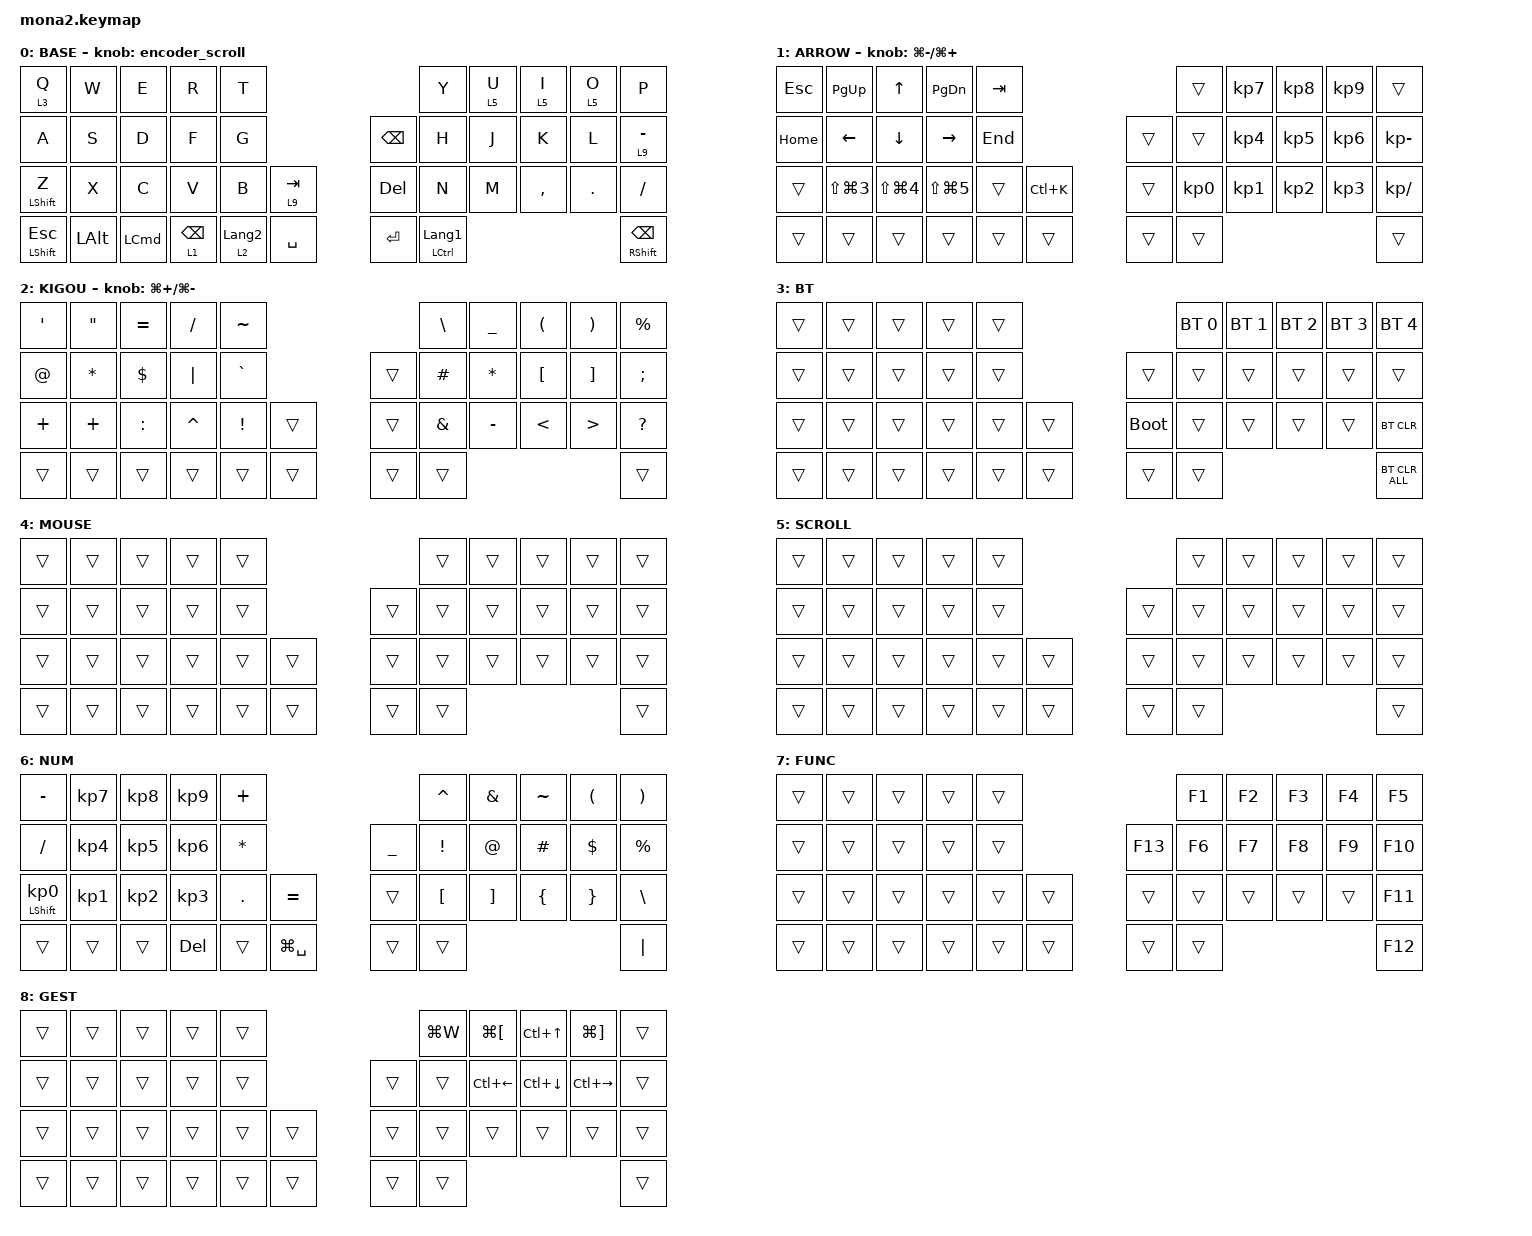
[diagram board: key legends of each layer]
/*
 * このファイルは自動生成です。直接編集しないでください。
 *
 * マスター : https://github.com/dgarai/zmk-config-moNa2-v2 の config/mona2.keymap
 * 生成     : マスター側の tools/sync-keymap.py（--variant paw3222）
 *
 * キーマップを変えたいときはマスターを編集してください。ここへの変更は
 * 次回の同期で上書きされます。同期の止め方・元に戻し方は KEYMAP-SYNC.md を参照。
 */

/*
 * SPDX-License-Identifier: MIT
 *
 * roBa (zmk-config-roBa) のキーマップを moNa2 へ移植したもの。
 *
 * 【レイアウト差分】
 *   roBa   : 43キー（2段目の左内側 RC(1,5) が存在する）
 *   moNa2  : 42キー（2段目の左内側キーが無い）
 *   → 各レイヤーの 2段目 6番目にあった roBa の RC(1,5) を1つ削除して移植。
 *      実際に何か割り当てられていたのは 2箇所だけ：
 *        default : &kp LS(LG(S))            （macOS スクリーンショット）
 *        NUM     : &kp LC(LA(KP_NUMBER_0))
 *      いずれも moNa2 には置き場所が無いため未割当。必要なら任意のキーへ。
 *
 * 【レイヤー番号】roBa と同一
 *   0 default / 1 ARROW / 2 KIGOU / 3 Bluetooth / 4 MOUSE / 5 SCROLL / 6 NUM / 7 FUNCTION
 *   → オートマウスレイヤー = 4、スクロールレイヤー = 5 として
 *     boards/shields/mona2/mona2_r.overlay 側も合わせて修正済み。
 */

#include <input/processors.dtsi>
#include <dt-bindings/zmk/input_transform.h>
#include <zephyr/dt-bindings/input/input-event-codes.h>

#define ZMK_POINTING_DEFAULT_SCRL_VAL 80

#include <behaviors.dtsi>
#include <dt-bindings/zmk/bt.h>
#include <dt-bindings/zmk/keys.h>
#include <dt-bindings/zmk/pointing.h>

&mt {
    flavor = "balanced";
    quick-tap-ms = <0>;
};

/ {
    combos {
        compatible = "zmk,combos";

        // roBa: <18 20> → moNa2: <17 19>（J + L）

        Center {
            bindings = <&mkp MB3>;
            key-positions = <17 19>;
            timeout-ms = <80>;              // 50→80。同時押しをゆるく
            require-prior-idle-ms = <50>;   // 125→50。取りこぼしで j/k が漏れるため緩める
        };

        // roBa: <18 19> → moNa2: <17 18>（J + K）

        left {
            bindings = <&mkp MB1>;
            key-positions = <17 18>;
            timeout-ms = <80>;              // 50→80。同時押しをゆるく
            require-prior-idle-ms = <50>;   // 125→50。取りこぼしで j/k が漏れるため緩める
        };

        // roBa: <19 20> → moNa2: <18 19>（K + L）

        right {
            bindings = <&mkp MB2>;
            key-positions = <18 19>;
            timeout-ms = <80>;              // 50→80。同時押しをゆるく
            require-prior-idle-ms = <50>;   // 125→50。取りこぼしで k/l が漏れるため緩める
        };

        // J + K + L 同時押しで押している間だけ SCROLL レイヤー(5)へ

        scroll_mode {
            bindings = <&mo 5>;
            key-positions = <17 18 19>;
            timeout-ms = <80>;              // 他のJ/K/Lコンボと合わせる
            require-prior-idle-ms = <50>;   // 他のJ/K/Lコンボと合わせる
        };

        // roBa: <0 1> → moNa2: <0 1>（Q + W）位置変化なし

        Escape {
            bindings = <&kp ESCAPE>;
            key-positions = <0 1>;
            timeout-ms = <80>;              // 50→80。同時押しをゆるく
            require-prior-idle-ms = <125>;  // 打鍵中は発火させない
        };

        tab {
            bindings = <&kp TAB>;
            key-positions = <4 3>;
        };
    };

    macros {
        to_layer_0: to_layer_0 {
            compatible = "zmk,behavior-macro-one-param";
            #binding-cells = <1>;
            bindings = <&to 0 &macro_param_1to1 &kp MACRO_PLACEHOLDER>;
            label = "TO_LAYER_0";
        };
    };

    behaviors {
        lt_to_layer_0: lt_to_layer_0 {
            compatible = "zmk,behavior-hold-tap";
            label = "LAYER_TAP_TO_0";
            bindings = <&mo>, <&to_layer_0>;

            #binding-cells = <2>;
            tapping-term-ms = <200>;
        };

        // エンコーダ用マウスホイールスクロール（上下）

        encoder_scroll: encoder_scroll {
            compatible = "zmk,behavior-sensor-rotate";
            #sensor-binding-cells = <0>;
            bindings = <&msc SCRL_DOWN>, <&msc SCRL_UP>;

            tap-ms = <20>;
        };

        // --- 以下は moNa2 標準の定義。現キーマップでは未使用だが温存 ---

        hm: hm {
            compatible = "zmk,behavior-hold-tap";
            label = "HM";
            bindings = <&kp>, <&kp>;

            #binding-cells = <2>;
            quick-tap-ms = <180>;
            flavor = "tap-preferred";
            hold-trigger-on-release;
            tapping-term-ms = <300>;
        };

        ltq: ltq {
            compatible = "zmk,behavior-hold-tap";
            label = "LTQ";
            bindings = <&mo>, <&kp>;

            #binding-cells = <2>;
            tapping-term-ms = <200>;
            quick-tap-ms = <180>;
        };
    };

    keymap {
        compatible = "zmk,keymap";

        default_layer {
            bindings = <
&lt 3 Q             &kp W         &kp E             &kp R            &kp T                                         &kp Y                        &lt 5 U  &lt 5 I    &lt 5 O     &kp P
&kp A               &kp S         &kp D             &kp F            &kp G                          &kp BACKSPACE  &kp H                        &kp J    &kp K      &kp L       &lt 9 MINUS
&mt LEFT_SHIFT Z    &kp X         &kp C             &kp V            &kp B             &lt 9 TAB    &kp DELETE     &kp N                        &kp M    &kp COMMA  &kp PERIOD  &kp SLASH
&mt LEFT_SHIFT ESC  &kp LEFT_ALT  &kp LEFT_COMMAND  &lt 1 BACKSPACE  &lt 2 LANGUAGE_2  &kp SPACE    &kp ENTER      &mt LEFT_CONTROL LANGUAGE_1                                  &mt RIGHT_SHIFT BACKSPACE
            >;

            sensor-bindings = <&encoder_scroll>;   // マウスホイール上下スクロール
            display-name = "BASE";
        };

        ARROW {
            bindings = <
&kp ESCAPE  &kp PAGE_UP           &kp UP_ARROW          &kp PAGE_DOWN         &kp TAB                       &trans           &kp KP_NUMBER_7  &kp KP_NUMBER_8  &kp KP_NUMBER_9  &trans
&kp HOME    &kp LEFT_ARROW        &kp DOWN_ARROW        &kp RIGHT_ARROW       &kp END               &trans  &trans           &kp KP_NUMBER_4  &kp KP_NUMBER_5  &kp KP_NUMBER_6  &kp KP_MINUS
&trans      &kp LS(LG(NUMBER_3))  &kp LS(LG(NUMBER_4))  &kp LS(LG(NUMBER_5))  &trans   &kp LC(K)    &trans  &kp KP_NUMBER_0  &kp KP_NUMBER_1  &kp KP_NUMBER_2  &kp KP_NUMBER_3  &kp KP_SLASH
&trans      &trans                &trans                &trans                &trans   &trans       &trans  &trans                                                              &trans
            >;

            sensor-bindings = <&inc_dec_kp LG(MINUS) LG(PLUS)>;
            display-name = "ARROW";
        };

        KIGOU {
            bindings = <
&kp SINGLE_QUOTE  &kp DOUBLE_QUOTES  &kp EQUAL   &kp SLASH  &kp TILDE                          &kp BACKSLASH  &kp UNDER  &kp LEFT_PARENTHESIS  &kp RIGHT_PARENTHESIS  &kp PERCENT
&kp AT            &kp STAR           &kp DOLLAR  &kp PIPE   &kp GRAVE                  &trans  &kp HASH       &kp STAR   &kp LEFT_BRACKET      &kp RIGHT_BRACKET      &kp SEMICOLON
&kp PLUS          &kp PLUS           &kp COLON   &kp CARET  &kp EXCLAMATION  &trans    &trans  &kp AMPERSAND  &kp MINUS  &kp LESS_THAN         &kp GREATER_THAN       &kp QUESTION
&trans            &trans             &trans      &trans     &trans           &trans    &trans  &trans                                                                 &trans
            >;

            sensor-bindings = <&inc_dec_kp LG(PLUS) LG(MINUS)>;
            display-name = "KIGOU";
        };

        Bluetooth {
            bindings = <
&trans  &trans  &trans  &trans  &trans                         &bt BT_SEL 0  &bt BT_SEL 1  &bt BT_SEL 2  &bt BT_SEL 3  &bt BT_SEL 4
&trans  &trans  &trans  &trans  &trans            &trans       &trans        &trans        &trans        &trans        &trans
&trans  &trans  &trans  &trans  &trans  &trans    &bootloader  &trans        &trans        &trans        &trans        &bt BT_CLR
&trans  &trans  &trans  &trans  &trans  &trans    &trans       &trans                                                  &bt BT_CLR_ALL
            >;

            display-name = "BT";
        };

        MOUSE {
            bindings = <
&trans  &trans  &trans  &trans  &trans                    &trans  &trans  &trans  &trans  &trans
&trans  &trans  &trans  &trans  &trans            &trans  &trans  &trans  &trans  &trans  &trans
&trans  &trans  &trans  &trans  &trans  &trans    &trans  &trans  &trans  &trans  &trans  &trans
&trans  &trans  &trans  &trans  &trans  &trans    &trans  &trans                          &trans
            >;

            display-name = "MOUSE";
        };

        SCROLL {
            bindings = <
&trans  &trans  &trans  &trans  &trans                    &trans  &trans  &trans  &trans  &trans
&trans  &trans  &trans  &trans  &trans            &trans  &trans  &trans  &trans  &trans  &trans
&trans  &trans  &trans  &trans  &trans  &trans    &trans  &trans  &trans  &trans  &trans  &trans
&trans  &trans  &trans  &trans  &trans  &trans    &trans  &trans                          &trans
            >;

            display-name = "SCROLL";
        };

        NUM {
            bindings = <
&kp MINUS                   &kp KP_NUMBER_7  &kp KP_NUMBER_8  &kp KP_NUMBER_9  &kp PLUS                                       &kp CARET         &kp AMPERSAND      &kp TILDE       &kp LEFT_PARENTHESIS  &kp RIGHT_PARENTHESIS
&kp SLASH                   &kp KP_NUMBER_4  &kp KP_NUMBER_5  &kp KP_NUMBER_6  &kp ASTERISK                   &kp UNDERSCORE  &kp EXCLAMATION   &kp AT_SIGN        &kp HASH        &kp DOLLAR            &kp PERCENT
&mt LEFT_SHIFT KP_NUMBER_0  &kp KP_NUMBER_1  &kp KP_NUMBER_2  &kp KP_NUMBER_3  &kp PERIOD    &kp EQUAL        &trans          &kp LEFT_BRACKET  &kp RIGHT_BRACKET  &kp LEFT_BRACE  &kp RIGHT_BRACE       &kp BACKSLASH
&trans                      &trans           &trans           &kp DELETE       &trans        &kp LG(SPACE)    &trans          &trans                                                                     &kp PIPE
            >;

            display-name = "NUM";
        };

        FUNCTION {
            bindings = <
&trans  &trans  &trans  &trans  &trans                     &kp F1  &kp F2  &kp F3  &kp F4  &kp F5
&trans  &trans  &trans  &trans  &trans            &kp F13  &kp F6  &kp F7  &kp F8  &kp F9  &kp F10
&trans  &trans  &trans  &trans  &trans  &trans    &trans   &trans  &trans  &trans  &trans  &kp F11
&trans  &trans  &trans  &trans  &trans  &trans    &trans   &trans                          &kp F12
            >;

            display-name = "FUNC";
        };

        GESTURE {
            bindings = <
&trans  &trans  &trans  &trans  &trans                    &kp LG(W)  &kp LG(LEFT_BRACKET)  &kp LC(UP)    &kp LG(RIGHT_BRACKET)  &trans
&trans  &trans  &trans  &trans  &trans            &trans  &trans     &kp LC(LEFT)          &kp LC(DOWN)  &kp LC(RIGHT)          &trans
&trans  &trans  &trans  &trans  &trans  &trans    &trans  &trans     &trans                &trans        &trans                 &trans
&trans  &trans  &trans  &trans  &trans  &trans    &trans  &trans                                                                &trans
            >;

            display-name = "GEST";
        };
    };
};
